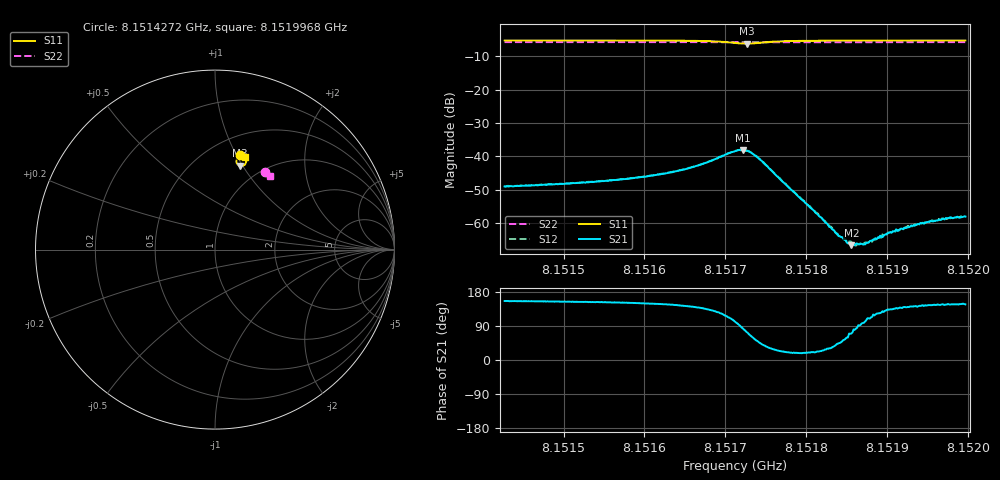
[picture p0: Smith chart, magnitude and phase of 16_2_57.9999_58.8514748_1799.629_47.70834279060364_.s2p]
#  HZ  S  RI  R  50.00
! Rohde & Schwarz Vector Network Analyzer
! Rohde-Schwarz,ZNB20-2Port,1311601062101988,3.16
! Created: UTC 3/21/2024, 12:50:59 AM
! freq[Hz]  re:S11  im:S11  re:S21  im:S21  re:S12  im:S12  re:S22  im:S22
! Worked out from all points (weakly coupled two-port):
!   401 points, 8.1514272 GHz to 8.1519968 GHz, reference 50 ohm
!   highest |S21| = -38.10 dB at 8.151722 GHz (marker M1); lowest = -66.7 dB at 8.1518559 GHz (marker M2)
!   lowest |S11| = -6.3 dB at 8.1517263 GHz (marker M3), VSWR 2.90, Z = 39.7 + j48.6 ohm
!   |S11| at or under -10 dB: nowhere
!   |S22| runs from -5.8 to -5.8 dB; largest |S21 - S12| = 0.00031
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8.15142719e9  0.1382 0.5262  -0.00322 0.00145  -0.00324 0.00154  0.2786 0.4321
8.15152261e9  0.147 0.5235  -0.0036 0.00181  -0.00361 0.00188  0.2837 0.4287
8.15157815e9  0.1532 0.5212  -0.00402 0.0022  -0.00401 0.00232  0.2866 0.4266
8.15161802e9  0.1589 0.5181  -0.00452 0.00284  -0.0045 0.00292  0.2888 0.4248
8.15166502e9  0.1683 0.5091  -0.00542 0.00474  -0.00535 0.00482  0.2913 0.4227
8.15171202e9  0.1639 0.4719  -0.00233 0.0117  -0.0024 0.0118  0.293 0.4197
8.15172199e9  0.1466 0.4654  0.00162 0.0123  0.00159 0.0124  0.2927 0.4194
8.15172626e9  0.1378 0.4667  0.00335 0.0116  0.00337 0.0117  0.2925 0.4194
8.15173196e9  0.1279 0.4724  0.00506 0.0101  0.00527 0.0101  0.2925 0.4194
8.15174193e9  0.1194 0.4874  0.00636 0.00662  0.0065 0.00659  0.2931 0.4199
8.15180744e9  0.1407 0.5197  0.00151 0.000572  0.00153 0.000543  0.2977 0.4183
8.15183877e9  0.1476 0.5206  0.000503 0.000471  0.000507 0.000426  0.2995 0.4173
8.15185016e9  0.1494 0.5206  0.000264 0.000443  0.000269 0.000449  0.3001 0.4167
8.15185586e9  0.1503 0.5205  0.000159 0.000435  0.000203 0.000481  0.3005 0.4164
8.15186155e9  0.1512 0.5207  5.91e-05 0.00049  7.13e-05 0.000454  0.3008 0.4163
8.15187295e9  0.1527 0.5206  -9.72e-05 0.000469  -0.000126 0.000496  0.3014 0.4157
8.15189004e9  0.155 0.5205  -0.000328 0.000502  -0.000314 0.000501  0.3023 0.4151
8.15190285e9  0.1565 0.5201  -0.000492 0.000525  -0.000474 0.000543  0.303 0.4146
8.15192564e9  0.1589 0.5199  -0.000663 0.000557  -0.000699 0.000578  0.3041 0.4137
8.15195128e9  0.1615 0.5192  -0.000854 0.000599  -0.000833 0.000612  0.3054 0.4127
8.15196979e9  0.1634 0.5189  -0.00097 0.000644  -0.000944 0.000645  0.3063 0.412
8.15199685e9  0.1658 0.5184  -0.00104 0.000685  -0.00107 0.000672  0.308 0.4109
